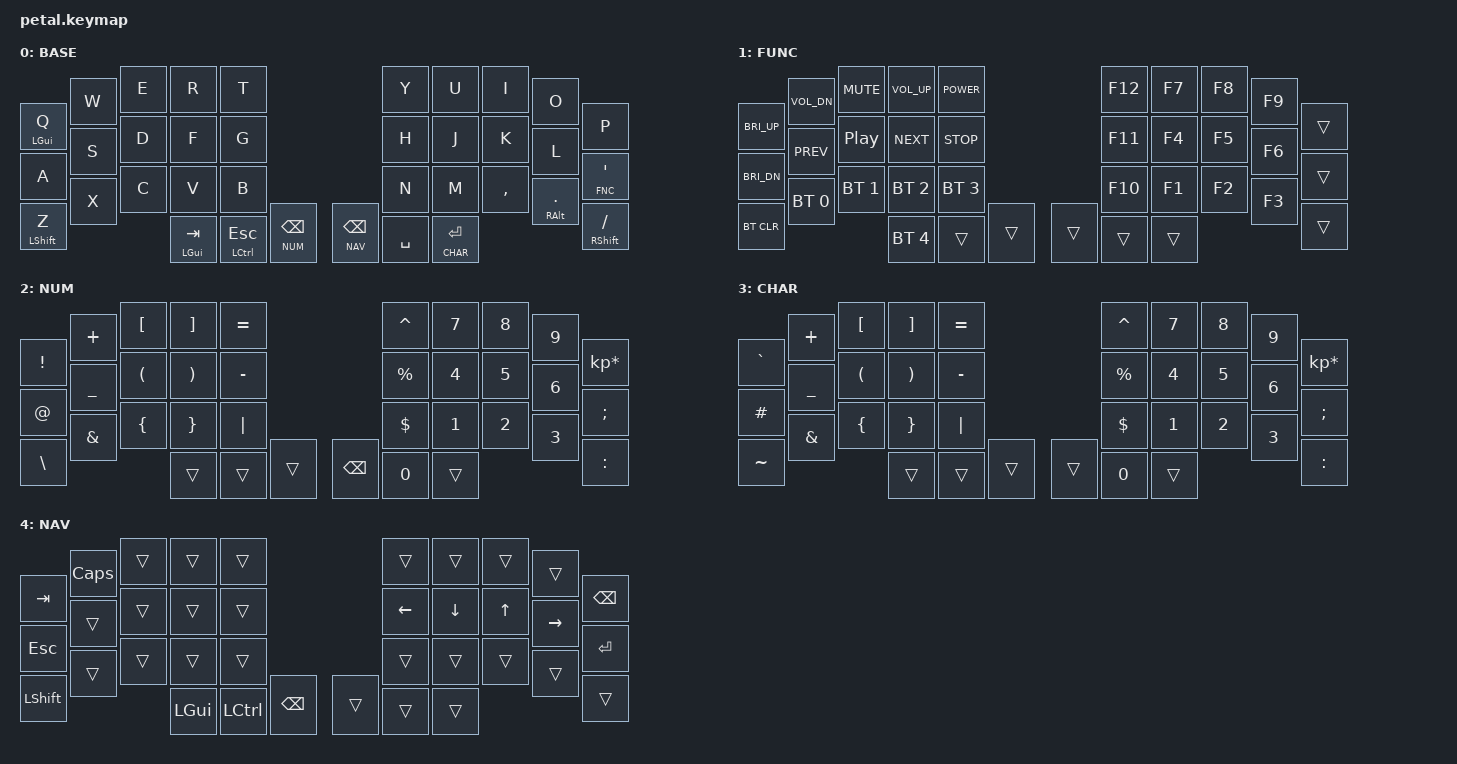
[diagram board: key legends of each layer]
#define ZMK_MOUSE_DEFAULT_MOVE_VAL 950
#define ZMK_MOUSE_DEFAULT_SCRL_VAL 1

#include <dt-bindings/zmk/mouse.h>
#include <behaviors/mouse_keys.dtsi>
#include <behaviors.dtsi>
#include <dt-bindings/zmk/bt.h>
#include <dt-bindings/zmk/keys.h>
#include <dt-bindings/zmk/pointing.h>

#define BASE 0
#define FNC  1
#define NUM  2
#define CHAR 3
#define NAV  4

&lt {
        tapping-term-ms = <175>;
        flavor = "hold-preferred";
};

/ {
        behaviors {
                hm: homerow_mods {
                        compatible = "zmk,behavior-hold-tap";
                        label = "homerow mods";
                        #binding-cells = <2>;
                        tapping_term_ms = <150>;
                        flavor = "balanced";
                        bindings = <&kp>, <&kp>;
                };

                dk: delete_keys {
                        compatible = "zmk,behavior-hold-tap";
                        label = "delete keys";
                        #binding-cells = <2>;
                        tapping_term_ms = <150>;
                        quick-tap-ms = <100>;
                        flavor = "hold-preferred";
                        bindings = <&mo>, <&kp>;
                };

                sh: shift_keys {
                        compatible = "zmk,behavior-hold-tap";
                        label = "shift keys";
                        #binding-cells = <2>;
                        tapping_term_ms = <170>;
                        quick-tap-ms = <90>;
                        flavor = "hold-preferred";
                        bindings = <&kp>, <&kp>;
                };

                fb: function_button {
                        compatible = "zmk,behavior-hold-tap";
                        label = "function button";
                        #binding-cells = <2>;
                        tapping_term_ms = <200>;
                        require-prior-idle-ms = <125>;
                        flavor = "tap-preferred";
                        bindings = <&mo>, <&kp>;
                };
        };

        keymap {
                compatible = "zmk,keymap";

                default_layer {
                        label = "BASE";
// -----------------------------------------------------------------------------------------
// |  Q  |  W  |  E  |  R  |  T  |   |  Y  |  U   |  I            |  O  |  P  |
// |  A  |  S  |  D  |  F  |  G  |   |  H  |  J   |  K            |  L  |  '  |
// |  Z  |  X  |  C  |  V  |  B  |   |  N  |  M   |  ,            |  .  |  /  |
//                    | GUI | LWR | SPC |  | ESC  | RSHIFT/SPACE  | ALT |
                        bindings = <
  &hm LGUI Q   &kp W        &kp E           &kp R          &kp T        &kp Y      &kp U    &kp I       &kp O        &kp P
  &kp A        &kp S        &kp D           &kp F          &kp G        &kp H      &kp J    &kp K       &kp L        &fb        FNC SQT
  &sh LSHIFT Z &kp X        &kp C           &kp V          &kp B        &kp N      &kp M    &kp COMMA   &hm RALT DOT &sh RSHIFT FSLH
               &hm LGUI TAB         &mt LCTRL ESC   &dk NUM BSPC   &dk NAV BSPC &kp SPACE  &lt CHAR RET
                        >;
                };
                function_layer {
                        label = "FUNC";
// -----------------------------------------------------------------------------------------
// | BRIG+ |  V-  | mute  |  V+  | PWR  |   | F12 | F7 | F8 | F9 | trans |
// | BRIG- | Prev | Pause | Next | Stop |   | F11 | F4 | F5 | F6 | trans |
// | /Ble  | Ble0 | Ble1  | Ble2 | Ble3 |   | F10 | F1 | F2 | F3 | trans |
//                | Ble4  | LWR  | SPC  |   | ENT | -- | ALT |
                        bindings = <
  &kp C_BRI_UP  &kp C_VOL_DN  &kp C_MUTE        &kp C_VOL_UP  &kp C_POWER      &kp F12 &kp F7 &kp F8  &kp F9  &trans
  &kp C_BRI_DN  &kp C_PREV    &kp C_PLAY_PAUSE  &kp C_NEXT    &kp C_STOP       &kp F11 &kp F4 &kp F5  &kp F6  &trans
  &bt BT_CLR    &bt BT_SEL 0  &bt BT_SEL 1      &bt BT_SEL 2  &bt BT_SEL 3     &kp F10 &kp F1 &kp F2  &kp F3  &trans
                      &bt BT_SEL 4    &trans   &trans         &trans    &trans &trans
                        >;
                };
                num_layer {
                        label = "NUM";
// -----------------------------------------------------------------------------------------
// | ! |  +  |  [  |  ]  |  =  |   | ^  | 7  |  8  | 9  | * |
// | @ |  _  |  (  |  )  |  -  |   | %  | 4  |  5  | 6  | ; |
// | \ |  &  |  {  |  }  |  |  |   | $  | 1  |  2  | 3  | : |
//           | --- | --- | --- |        | -- |  0  | -- |
                        bindings = <
  &kp EXCL  &kp PLUS  &kp LBKT  &kp RBKT &kp EQUAL      &kp CARET &kp N7 &kp N8   &kp N9 &kp KP_MULTIPLY
  &kp AT    &kp UNDER &kp LPAR  &kp RPAR &kp MINUS      &kp PRCNT &kp N4 &kp N5   &kp N6 &kp SEMI
  &kp BSLH  &kp AMPS  &kp LBRC  &kp RBRC &kp PIPE       &kp DLLR  &kp N1 &kp N2   &kp N3 &kp COLON
                       &trans    &trans   &trans              &kp BSPC  &kp N0 &trans
                        >;
                };
                char_layer {
                        label = "CHAR";
// -----------------------------------------------------------------------------------------
// | ` |  +  |  [  |  ]  |  =  |   | ^ | 7 | 8 | 9 | * |
// | # |  _  |  (  |  )  |  -  |   | % | 4 | 5 | 6 | ; |
// | ~ |  &  |  {  |  }  |  |  |   | $ | 1 | 2 | 3 | : |
//           | --- | --- | --- |   | @ | 0 | ! |
                        bindings = <
  &kp GRAVE &kp PLUS  &kp LBKT  &kp RBKT &kp EQUAL      &kp CARET &kp N7 &kp N8   &kp N9 &kp KP_MULTIPLY
  &kp HASH  &kp UNDER &kp LPAR  &kp RPAR &kp MINUS      &kp PRCNT &kp N4 &kp N5   &kp N6 &kp SEMI
  &kp TILDE &kp AMPS  &kp LBRC  &kp RBRC &kp PIPE       &kp DLLR  &kp N1 &kp N2   &kp N3 &kp COLON
                       &trans    &trans   &trans              &trans    &kp N0 &trans
                        >;
                };
                nav_layer {
                        label = "NAV";
// -----------------------------------------------------------------------------------------
                        bindings = <
  &kp TAB    &kp CAPS  &trans    &trans   &trans         &trans   &trans   &trans    &trans    &kp BSPC
  &kp ESC    &trans    &trans    &trans   &trans         &kp LEFT &kp DOWN &kp UP    &kp RIGHT &kp RET
  &kp LSHIFT &trans    &trans    &trans   &trans         &trans   &trans   &trans    &trans    &trans
                     &kp LGUI  &kp LCTRL  &kp BSPC             &trans   &trans   &trans
                        >;
                };
        };
};

&pinctrl {
    spi0_default: spi0_default {
        group1 {
            psels =
                <NRF_PSEL(SPIM_SCK, 0, 17)>,
                <NRF_PSEL(SPIM_MOSI, 0, 20)>,
                <NRF_PSEL(SPIM_MISO, 0, 25)>;
        };
    };

    spi0_sleep: spi0_sleep {
        group1 {
            psels =
                <NRF_PSEL(SPIM_SCK, 0, 17)>,
                <NRF_PSEL(SPIM_MOSI, 0, 20)>,
                <NRF_PSEL(SPIM_MISO, 0, 25)>;

            low-power-enable;
        };
    };
};
